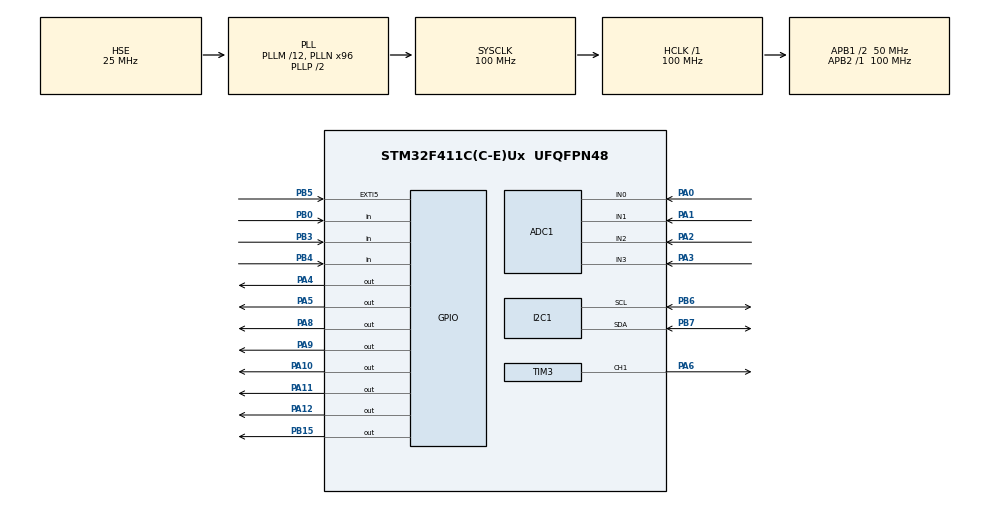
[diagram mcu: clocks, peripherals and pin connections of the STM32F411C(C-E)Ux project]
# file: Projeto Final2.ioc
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ADC1.Channel-0\#ChannelRegularConversion=ADC_CHANNEL_0
ADC1.Channel-1\#ChannelRegularConversion=ADC_CHANNEL_1
ADC1.Channel-2\#ChannelRegularConversion=ADC_CHANNEL_2
ADC1.Channel-3\#ChannelRegularConversion=ADC_CHANNEL_3
ADC1.ContinuousConvMode=ENABLE
ADC1.DMAContinuousRequests=ENABLE
ADC1.NbrOfConversion=4
ADC1.NbrOfConversionFlag=1
ADC1.Rank-0\#ChannelRegularConversion=1
ADC1.Rank-1\#ChannelRegularConversion=2
ADC1.Rank-2\#ChannelRegularConversion=3
ADC1.Rank-3\#ChannelRegularConversion=4
ADC1.SamplingTime-0\#ChannelRegularConversion=ADC_SAMPLETIME_144CYCLES
ADC1.SamplingTime-1\#ChannelRegularConversion=ADC_SAMPLETIME_144CYCLES
ADC1.SamplingTime-2\#ChannelRegularConversion=ADC_SAMPLETIME_144CYCLES
ADC1.SamplingTime-3\#ChannelRegularConversion=ADC_SAMPLETIME_144CYCLES
ADC1.ScanConvMode=ENABLE
ADC1.master=1
Dma.ADC1.0.Direction=DMA_PERIPH_TO_MEMORY
Dma.ADC1.0.FIFOMode=DMA_FIFOMODE_DISABLE
Dma.ADC1.0.Instance=DMA2_Stream0
Dma.ADC1.0.MemDataAlignment=DMA_MDATAALIGN_HALFWORD
Dma.ADC1.0.MemInc=DMA_MINC_ENABLE
Dma.ADC1.0.Mode=DMA_CIRCULAR
Dma.ADC1.0.PeriphDataAlignment=DMA_PDATAALIGN_HALFWORD
Dma.ADC1.0.PeriphInc=DMA_PINC_DISABLE
Dma.ADC1.0.Priority=DMA_PRIORITY_LOW
Dma.Request0=ADC1
Mcu.Family=STM32F4
Mcu.Name=STM32F411C(C-E)Ux
Mcu.Package=UFQFPN48
NVIC.DMA2_Stream0_IRQn=true\:0\:0\:false\:false\:true\:false\:true\:true
NVIC.EXTI9_5_IRQn=true\:1\:0\:true\:false\:true\:true\:true\:true
NVIC.PriorityGroup=NVIC_PRIORITYGROUP_4
NVIC.TIM2_IRQn=true\:0\:0\:false\:false\:true\:true\:true\:true
PA0-WKUP.Signal=ADCx_IN0
PA1.Signal=ADCx_IN1
PA10.Signal=GPIO_Output
PA11.Signal=GPIO_Output
PA12.Signal=GPIO_Output
PA2.Signal=ADCx_IN2
PA3.Signal=ADCx_IN3
PA4.Signal=GPIO_Output
PA5.Signal=GPIO_Output
PA6.Signal=S_TIM3_CH1
PA8.Signal=GPIO_Output
PA9.Signal=GPIO_Output
PB0.GPIO_PuPd=GPIO_PULLUP
PB0.Signal=GPIO_Input
PB15.Signal=GPIO_Output
PB3.GPIO_PuPd=GPIO_PULLUP
PB3.Signal=GPIO_Input
PB4.GPIO_PuPd=GPIO_PULLUP
PB4.Signal=GPIO_Input
PB5.GPIO_ModeDefaultEXTI=GPIO_MODE_IT_RISING_FALLING
PB5.GPIO_PuPd=GPIO_PULLUP
PB5.Signal=GPXTI5
PB6.Mode=I2C
PB6.Signal=I2C1_SCL
PB7.Mode=I2C
PB7.Signal=I2C1_SDA
PH0\ -\ OSC_IN.Mode=HSE-External-Oscillator
PH0\ -\ OSC_IN.Signal=RCC_OSC_IN
PH1\ -\ OSC_OUT.Mode=HSE-External-Oscillator
PH1\ -\ OSC_OUT.Signal=RCC_OSC_OUT
ProjectManager.HeapSize=0x200
ProjectManager.StackSize=0x400
ProjectManager.TargetToolchain=STM32CubeIDE
RCC.48MHZClocksFreq_Value=50000000
RCC.AHBFreq_Value=100000000
RCC.APB1CLKDivider=RCC_HCLK_DIV2
RCC.APB1Freq_Value=50000000
RCC.APB1TimFreq_Value=100000000
RCC.APB2Freq_Value=100000000
RCC.APB2TimFreq_Value=100000000
RCC.CortexFreq_Value=100000000
RCC.HCLKFreq_Value=100000000
RCC.HSE_VALUE=25000000
RCC.HSI_VALUE=16000000
RCC.LSE_VALUE=32768
RCC.PLLM=12
RCC.PLLN=96
RCC.PLLSourceVirtual=RCC_PLLSOURCE_HSE
RCC.SYSCLKFreq_VALUE=100000000
RCC.SYSCLKSource=RCC_SYSCLKSOURCE_PLLCLK
RCC.VCOOutputFreq_Value=200000000
SH.ADCx_IN0.0=ADC1_IN0,IN0
SH.ADCx_IN1.0=ADC1_IN1,IN1
SH.ADCx_IN2.0=ADC1_IN2,IN2
SH.ADCx_IN3.0=ADC1_IN3,IN3
SH.S_TIM3_CH1.0=TIM3_CH1,PWM Generation1 CH1
TIM2.Period=9999
TIM2.Prescaler=8399
TIM3.Channel-PWM\ Generation1\ CH1=TIM_CHANNEL_1
TIM3.Period=19999
TIM3.Prescaler=99
TIM3.Pulse-PWM\ Generation1\ CH1=1500
VP_TIM2_VS_ClockSourceINT.Mode=Internal
VP_TIM3_VS_ClockSourceINT.Mode=Internal
board=custom

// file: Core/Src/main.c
/* USER CODE BEGIN Header */
/**
  ******************************************************************************
  * @file           : main.c
  * @brief          : Controle de estufa
  ******************************************************************************
  */
/* USER CODE END Header */
#include "main.h"
#include "adc.h"
#include "dma.h"
#include "i2c.h"
#include "tim.h"
#include "gpio.h"

/* USER CODE BEGIN Includes */
#include <stdbool.h>
#include <stdint.h>
#include <stdio.h>
#include <string.h>
#include <math.h>
/* USER CODE END Includes */

/* USER CODE BEGIN PD */
#define DEBOUNCE_TIME       200U
#define ADC_MAX_VALUE       4095.0f
#define VREF                3.3f
#define WINDOW_SIZE         10
#define NUM_ADC_CHANNELS    4    // PA0, PA1, PA2, PA3

// LCD I2C
#define LCD_ADDR   (0x27u << 1)
#define LCD_COLS   16
#define LCD_ROWS   2

#define RS_BIT     0x01
#define EN_BIT     0x04
#define BL_ON      0x08
/* USER CODE END PD */

/* USER CODE BEGIN PV */
Estado_Controlador g_estado_atual = MONITORAMENTO_PRINCIPAL;
Modo_Operacao     g_modo_operacao = MODO_AUTOMATICO;
Controlador_Dados g_dados_controlador = {0};

Estado_Controlador estadoAtual = MENU_MODO; // passa a iniciar no menu (pedido)

// Menu / setpoints
Config_Setpoints_Index config_index_selecionado = SP_TEMP_MAX;

// Botão emergência
volatile bool flag_emergencia = false;

// Debounce dos botões
uint32_t ultimo_press_verde_ms   = 0;
uint32_t ultimo_press_amarelo_ms = 0;
uint32_t ultimo_press_roxo_ms    = 0;

// ADC e filtragem
volatile uint16_t adc_buffer[NUM_ADC_CHANNELS];

float temp_hist[WINDOW_SIZE] = {0};
float umid_hist[WINDOW_SIZE] = {0};
float o2_hist[WINDOW_SIZE]   = {0};
float luz_hist[WINDOW_SIZE]  = {0};
int   hist_idx = 0;

int temp_i = 0, umid_i = 0, o2_i = 0, luz_i = 0;

// ---------- SETPOINTS DE FÁBRICA ----------
static const float sp_temp_max_factory = 25.0f;
static const float sp_temp_min_factory = 18.0f;
static const float sp_umid_max_factory = 85.0f;
static const float sp_umid_min_factory = 60.0f;
static const float sp_o2_max_factory   = 21.0f;
static const float sp_o2_min_factory   = 19.0f;
static const float sp_luz_max_factory  = 45.0f;
static const float sp_luz_min_factory  = 20.0f;

// ---------- SETPOINTS ATUAIS (Para alterar no modo manual) ----------
float sp_temp_max   = 25.0f;
float sp_temp_min   = 18.0f;
float sp_umid_max   = 85.0f;
float sp_umid_min   = 60.0f;
float sp_o2_max     = 21.0f;
float sp_o2_min     = 19.0f;
float sp_luz_max    = 45.0f;
float sp_luz_min    = 20.0f;

// ---------- CONTROLE DO BUZZER POR TEMPORIZADOR (TIM2) ----------
bool     buzzer_temp_alerta   = false;   // se true, TIM2 controla o buzzer
uint32_t buzzer_periodo_ms    = 300;     // 300 ms abaixo do mínimo, 150 ms acima do máximo
uint32_t buzzer_elapsed_ms    = 0;       // acumula tempo desde última troca
bool     buzzer_toggle_state  = false;   // estado atual (ON/OFF) do beep

// ---------- NOVA LÓGICA DE MENU ----------
int menu_index = 0;
bool in_submenu = false;
enum {
    SUB_NONE = 0,
    SUB_CONFIRM_AUTO,
    SUB_AJUSTE_TEMP,
    SUB_AJUSTE_UMI,
    SUB_AJUSTE_O2,
    SUB_AJUSTE_LUZ,
    SUB_MONITORAMENTO_SELECTED
} submenu_type = SUB_NONE;
// Ajuste step (0=max, 1=min)
int ajuste_step = 0;
/* USER CODE END PV */

void SystemClock_Config(void);
/* USER CODE BEGIN PFP */
// LCD
void LCD_Write4bits(uint8_t data);
void LCD_SendCommand(uint8_t cmd);
void LCD_SendData(uint8_t data);
void LCD_SendString(char *str);
void LCD_SetCursor(uint8_t row, uint8_t col);
void LCD_Clear(void);
void LCD_Init(void);

// App
void Display_Update(void);
void Transicao_FSM(void);
void Maquina_Monitoramento(void);
void Maquina_ModoOperacao(void);
void Maquina_ConfigSetpoints(void);
void Maquina_AlertaCritico(void);

// Util
void Carregar_Setpoints(void);
void Salvar_Setpoints(void);
void Restaurar_Setpoints_Fabrica(void);
void Ligar_Aquecimento(void);
void Desligar_Aquecimento(void);
void Ligar_Resfriamento(void);
void Desligar_Resfriamento(void);

// SERVO
void Servo_SetPWM(uint16_t pulse_us);
void Servo_Para(void);

// BOTÕES
bool BotaoVerde_Pressionado(void);
bool BotaoAmarelo_Pressionado(void);
bool BotaoRoxo_Pressionado(void);

// ADC / conversões
void  Processar_ADC_e_Filtrar(void);
float Converter_ADC_para_Volts(uint16_t raw);

// BUZZER
void Buzzer_Liga(void);
void Buzzer_Desliga(void);
void Buzzer_TimerHandler(void);
/* USER CODE END PFP */

/* USER CODE BEGIN 0 */
/* ===================== LCD I2C ===================== */

void LCD_Write4bits(uint8_t data)
{
    uint8_t buf[1];
    buf[0] = data | BL_ON | EN_BIT;
    HAL_I2C_Master_Transmit(&hi2c1, LCD_ADDR, buf, 1, 100);
    HAL_Delay(1);
    buf[0] = data | BL_ON;
    HAL_I2C_Master_Transmit(&hi2c1, LCD_ADDR, buf, 1, 100);
}

void LCD_SendCommand(uint8_t cmd)
{
    uint8_t hi = cmd & 0xF0;
    uint8_t lo = (uint8_t)((cmd << 4) & 0xF0);

    LCD_Write4bits(hi);
    LCD_Write4bits(lo);
}

void LCD_SendData(uint8_t data)
{
    uint8_t hi = data & 0xF0;
    uint8_t lo = (uint8_t)((data << 4) & 0xF0);

    LCD_Write4bits(hi | RS_BIT);
    LCD_Write4bits(lo | RS_BIT);
}

void LCD_SendString(char *str)
{
    while (*str)
    {
        LCD_SendData((uint8_t)*str++);
    }
}

void LCD_SetCursor(uint8_t row, uint8_t col)
{
    uint8_t addr;
    switch (row)
    {
        default:
        case 0: addr = 0x80 + col; break;
        case 1: addr = 0xC0 + col; break;
    }
    LCD_SendCommand(addr);
}

void LCD_Clear(void)
{
    LCD_SendCommand(0x01);
    HAL_Delay(2);
}

void LCD_Init(void)
{
    HAL_Delay(20);
    LCD_Write4bits(0x30);
    HAL_Delay(10);
    LCD_Write4bits(0x30);
    LCD_Write4bits(0x20);
    LCD_SendCommand(0x28);
    LCD_SendCommand(0x0C);
    LCD_SendCommand(0x01);
    HAL_Delay(2);
}

/* ===================== Atuadores ===================== */

void Carregar_Setpoints(void)
{
    g_dados_controlador.sp_temp_max     = sp_temp_max;
    g_dados_controlador.sp_temp_min     = sp_temp_min;
    g_dados_controlador.sp_umidade_max  = sp_umid_max;
    g_dados_controlador.sp_umidade_min  = sp_umid_min;
    g_dados_controlador.sp_oxigenio_max = sp_o2_max;
    g_dados_controlador.sp_oxigenio_min = sp_o2_min;
}

void Salvar_Setpoints(void)
{
    Carregar_Setpoints();
}

void Restaurar_Setpoints_Fabrica(void)
{
    sp_temp_max = sp_temp_max_factory;
    sp_temp_min = sp_temp_min_factory;
    sp_umid_max = sp_umid_max_factory;
    sp_umid_min = sp_umid_min_factory;
    sp_o2_max   = sp_o2_max_factory;
    sp_o2_min   = sp_o2_min_factory;
    sp_luz_max  = sp_luz_max_factory;
    sp_luz_min  = sp_luz_min_factory;

    Carregar_Setpoints();
}

void Ligar_Aquecimento(void)
{
    HAL_GPIO_WritePin(AQUECIMENTO_GPIO_Port, AQUECIMENTO_Pin, GPIO_PIN_SET);
}

void Desligar_Aquecimento(void)
{
    HAL_GPIO_WritePin(AQUECIMENTO_GPIO_Port, AQUECIMENTO_Pin, GPIO_PIN_RESET);
}

void Ligar_Resfriamento(void)
{
    HAL_GPIO_WritePin(RESFRIAMENTO_GPIO_Port, RESFRIAMENTO_Pin, GPIO_PIN_SET);
}

void Desligar_Resfriamento(void)
{
    HAL_GPIO_WritePin(RESFRIAMENTO_GPIO_Port, RESFRIAMENTO_Pin, GPIO_PIN_RESET);
}

/* ===================== SERVO ===================== */

void Servo_SetPWM(uint16_t pulse_us)
{
    if (pulse_us < 1000) pulse_us = 1000;
    if (pulse_us > 2000) pulse_us = 2000;

    uint32_t ticks = pulse_us;

    __HAL_TIM_SET_COMPARE(&htim3, TIM_CHANNEL_1, ticks);
}

void Servo_Para(void)
{
    Servo_SetPWM(1500);
}

/* ===================== BOTÕES ===================== */

bool BotaoVerde_Pressionado(void)
{
    GPIO_PinState p = HAL_GPIO_ReadPin(BOTAO_VERDE_GPIO_Port, BOTAO_VERDE_Pin);
    static GPIO_PinState last = GPIO_PIN_SET;

    if (p == GPIO_PIN_RESET && last == GPIO_PIN_SET)
    {
        if (HAL_GetTick() - ultimo_press_verde_ms > DEBOUNCE_TIME)
        {
            ultimo_press_verde_ms = HAL_GetTick();
            last = p;
            return true;
        }
    }
    if (p == GPIO_PIN_SET)
        last = p;

    return false;
}

bool BotaoAmarelo_Pressionado(void)
{
    GPIO_PinState p = HAL_GPIO_ReadPin(BOTAO_AMARELO_GPIO_Port, BOTAO_AMARELO_Pin);
    static GPIO_PinState last = GPIO_PIN_SET;

    if (p == GPIO_PIN_RESET && last == GPIO_PIN_SET)
    {
        if (HAL_GetTick() - ultimo_press_amarelo_ms > DEBOUNCE_TIME)
        {
            ultimo_press_amarelo_ms = HAL_GetTick();
            last = p;
            return true;
        }
    }
    if (p == GPIO_PIN_SET)
        last = p;

    return false;
}

bool BotaoRoxo_Pressionado(void)
{
    GPIO_PinState p = HAL_GPIO_ReadPin(BOTAO_ROXO_GPIO_Port, BOTAO_ROXO_Pin);
    static GPIO_PinState last = GPIO_PIN_SET;

    if (p == GPIO_PIN_RESET && last == GPIO_PIN_SET)
    {
        if (HAL_GetTick() - ultimo_press_roxo_ms > DEBOUNCE_TIME)
        {
            ultimo_press_roxo_ms = HAL_GetTick();
            last = p;
            return true;
        }
    }
    if (p == GPIO_PIN_SET)
        last = p;

    return false;
}

/* ===================== BUZZER ===================== */

void Buzzer_Liga(void)
{
    HAL_GPIO_WritePin(BUZZER_GPIO_Port, BUZZER_Pin, GPIO_PIN_SET);
}

void Buzzer_Desliga(void)
{
    HAL_GPIO_WritePin(BUZZER_GPIO_Port, BUZZER_Pin, GPIO_PIN_RESET);
}

void Buzzer_TimerHandler(void)
{
    if (!buzzer_temp_alerta || flag_emergencia || estadoAtual == ALERTA_CRITICO)
        return;

       buzzer_elapsed_ms += 100U;

    if (buzzer_elapsed_ms >= buzzer_periodo_ms)
    {
        buzzer_elapsed_ms = 0;
        buzzer_toggle_state = !buzzer_toggle_state;

        if (buzzer_toggle_state)
            Buzzer_Liga();
        else
            Buzzer_Desliga();
    }
}

/* ===================== ADC / FILTRO ===================== */

float Converter_ADC_para_Volts(uint16_t raw)
{
    return (raw / ADC_MAX_VALUE) * VREF;
}

static float limpa_ruido_adc(uint16_t raw)
{
    if (raw < 50)   raw = 50;
    if (raw > 4050) raw = 4050;
    return raw;
}

void Processar_ADC_e_Filtrar(void)
{
    const uint16_t ADC_MIN = 50;
    const uint16_t ADC_MAX = 4050;
    const float span = (float)(ADC_MAX - ADC_MIN);

    float temp_raw = (adc_buffer[0] < ADC_MIN) ? ADC_MIN :
                  (adc_buffer[0] > ADC_MAX ? ADC_MAX : adc_buffer[0]);

    float umi_raw = (adc_buffer[1] < ADC_MIN) ? ADC_MIN :
                  (adc_buffer[1] > ADC_MAX ? ADC_MAX : adc_buffer[1]);

    float oxi_raw = (adc_buffer[2] < ADC_MIN) ? ADC_MIN :
                  (adc_buffer[2] > ADC_MAX ? ADC_MAX : adc_buffer[2]);

    float luz_raw = (adc_buffer[3] < ADC_MIN) ? ADC_MIN :
                  (adc_buffer[3] > ADC_MAX ? ADC_MAX : adc_buffer[3]);

    float temp_n = (temp_raw - ADC_MIN) / span;
    float umi_n  = (umi_raw  - ADC_MIN) / span;
    float oxi_n  = (oxi_raw  - ADC_MIN) / span;
    float luz_n  = (luz_raw  - ADC_MIN) / span;

    float temp = 10.0f + temp_n * (35.0f - 10.0f);   // 10 a 35 °C
    float umi  = 40.0f + umi_n  * (99.0f - 40.0f);   // 40 a 99 %
    float oxi  = 15.0f + oxi_n  * (25.0f - 15.0f);   // 15 a 25 %
    float lux  = luz_n;

    temp_hist[hist_idx] = temp;
    umid_hist[hist_idx] = umi;
    o2_hist[hist_idx]   = oxi;
    luz_hist[hist_idx]  = lux;

    hist_idx = (hist_idx + 1) % WINDOW_SIZE;

    float stemp = 0, sumi = 0, soxi = 0, sluz = 0;
    for (int i = 0; i < WINDOW_SIZE; i++) {
        stemp += temp_hist[i];
        sumi  += umid_hist[i];
        soxi  += o2_hist[i];
        sluz  += luz_hist[i];
    }

    float temp_media = stemp / WINDOW_SIZE;   // 10–35
    float umid_media = sumi  / WINDOW_SIZE;   // 40–99
    float o2_media   = soxi  / WINDOW_SIZE;   // 15–25
    float luz_media  = sluz  / WINDOW_SIZE;   // 0–1

    temp_i = (int)(temp_media + 0.5f);
    umid_i = (int)(umid_media + 0.5f);
    o2_i   = (int)(o2_media   + 0.5f);

    int luz_calc = (int)(luz_media * 99.0f + 0.5f);
    if (luz_calc < 0)   luz_calc = 0;
    if (luz_calc > 99)  luz_calc = 99;
    luz_i = luz_calc;

    g_dados_controlador.temperatura = temp_media;
    g_dados_controlador.umidade     = umid_media;
    g_dados_controlador.oxigenio    = o2_media;
}

void HAL_ADC_ConvCpltCallback(ADC_HandleTypeDef *hadc)
{
    if (hadc->Instance == ADC1)
    {
        Processar_ADC_e_Filtrar();
        HAL_ADC_Start_DMA(&hadc1, (uint32_t*)adc_buffer, NUM_ADC_CHANNELS);
    }
}

/* ===================== DISPLAY ===================== */

void Display_Update(void)
{
    char buf[17];

       if (estadoAtual == MENU_MODO && !in_submenu)
    {
                LCD_SetCursor(0,0);
        switch (menu_index)
        {
            case 0: LCD_SendString("1:Monitoramento "); break;
            case 1: LCD_SendString("2:Modo Automatico"); break;
            case 2: LCD_SendString("3:Ajuste Temp   "); break;
            case 3: LCD_SendString("4:Ajuste Umid   "); break;
            case 4: LCD_SendString("5:Ajuste O2     "); break;
            case 5: LCD_SendString("6:Ajuste Luz    "); break;
            default: LCD_SendString("                "); break;
        }
        LCD_SetCursor(1,0);
        LCD_SendString("ROXO-> Next  VER->OK");
        return;
    }

        if (estadoAtual == MENU_MODO && in_submenu)
    {
        switch (submenu_type)
        {
            case SUB_MONITORAMENTO_SELECTED:
                LCD_SetCursor(0,0);
                snprintf(buf,sizeof(buf),"Temp:%02dC Umi:%02d%%",temp_i,umid_i);
                LCD_SendString(buf);
                LCD_SetCursor(1,0);
                snprintf(buf,sizeof(buf),"Oxig:%02d%% Luz:%02d%%",o2_i,luz_i);
                LCD_SendString(buf);
                LCD_SetCursor(1,14);
                return;

            case SUB_CONFIRM_AUTO:
                LCD_SetCursor(0,0);
                LCD_SendString("Confirma AUTO ?  ");
                LCD_SetCursor(1,0);
                LCD_SendString("VER->Sim  ROXO->Nao");
                return;

            case SUB_AJUSTE_TEMP:
                LCD_SetCursor(0,0);
                if (ajuste_step == 0)
                    snprintf(buf,sizeof(buf),"Tmax:%02dC        ", (int)sp_temp_max);
                else
                    snprintf(buf,sizeof(buf),"Tmin:%02dC        ", (int)sp_temp_min);
                LCD_SendString(buf);
                LCD_SetCursor(1,0);
                LCD_SendString("VER+ AMAR- ROXO->>");
                return;

            case SUB_AJUSTE_UMI:
                LCD_SetCursor(0,0);
                if (ajuste_step == 0)
                    snprintf(buf,sizeof(buf),"Umax:%02d%%       ", (int)sp_umid_max);
                else
                    snprintf(buf,sizeof(buf),"Umin:%02d%%       ", (int)sp_umid_min);
                LCD_SendString(buf);
                LCD_SetCursor(1,0);
                LCD_SendString("VER+ AMAR- ROXO->>");
                return;

            case SUB_AJUSTE_O2:
                LCD_SetCursor(0,0);
                if (ajuste_step == 0)
                    snprintf(buf,sizeof(buf),"O2Max:%02d%%      ", (int)sp_o2_max);
                else
                    snprintf(buf,sizeof(buf),"O2Min:%02d%%      ", (int)sp_o2_min);
                LCD_SendString(buf);
                LCD_SetCursor(1,0);
                LCD_SendString("VER+ AMAR- ROXO->>");
                return;

            case SUB_AJUSTE_LUZ:
                LCD_SetCursor(0,0);
                if (ajuste_step == 0)
                    snprintf(buf,sizeof(buf),"LuzMax:%02d%%     ", (int)sp_luz_max);
                else
                    snprintf(buf,sizeof(buf),"LuzMin:%02d%%     ", (int)sp_luz_min);
                LCD_SendString(buf);
                LCD_SetCursor(1,0);
                LCD_SendString("VER+ AMAR- ROXO->>");
                return;

            default:
                LCD_Clear();
                return;
        }
    }

    switch (estadoAtual)
    {
    case MONITORAMENTO_PRINCIPAL:
        LCD_SetCursor(0,0);
        snprintf(buf,sizeof(buf),"Temp:%02dC Umi:%02d%%",temp_i,umid_i);
        LCD_SendString(buf);
        LCD_SetCursor(1,0);
        snprintf(buf,sizeof(buf),"Oxig:%02d%% Luz:%02d%%",o2_i,luz_i);
        LCD_SendString(buf);
        break;

    case ALERTA_CRITICO:
        break;

    default:
        break;
    }
}

/* ===================== FSM ===================== */

void Maquina_Monitoramento(void)
{
    // ======== CONTROLE TEMPERATURA ========
    if (temp_i > (int)sp_temp_max)
    {
        Desligar_Aquecimento();
        Ligar_Resfriamento();
    }
    else if (temp_i < (int)sp_temp_min)
    {
        Ligar_Aquecimento();
        Desligar_Resfriamento();
    }
    else
    {
        Desligar_Aquecimento();
        Desligar_Resfriamento();
    }

    // Controle do buzzer baseado na temperatura (TIM2)
    if (g_modo_operacao == MODO_AUTOMATICO && !flag_emergencia)
    {
        if (temp_i < (int)sp_temp_min)
        {
            buzzer_temp_alerta = true;
            buzzer_periodo_ms  = 300;
        }
        else if (temp_i > (int)sp_temp_max)
        {
            buzzer_temp_alerta = true;
            buzzer_periodo_ms  = 150;
        }
        else
        {
            buzzer_temp_alerta = false;
            buzzer_elapsed_ms  = 0;
            buzzer_toggle_state = false;
            Buzzer_Desliga();
        }
    }
    else
    {
        buzzer_temp_alerta = false;
        buzzer_elapsed_ms  = 0;
        buzzer_toggle_state = false;
        Buzzer_Desliga();
    }

    // ========= CONTROLE UMIDADE → LED RGB =========
    if (umid_i < (int)sp_umid_min)
    {
        HAL_GPIO_WritePin(LED_RGB_VERMELHO_GPIO_Port, LED_RGB_VERMELHO_Pin, GPIO_PIN_SET);
        HAL_GPIO_WritePin(LED_RGB_VERDE_GPIO_Port,    LED_RGB_VERDE_Pin,    GPIO_PIN_RESET);
        HAL_GPIO_WritePin(LED_RGB_AZUL_GPIO_Port,     LED_RGB_AZUL_Pin,     GPIO_PIN_RESET);
    }
    else if (umid_i <= (int)sp_umid_max)
    {
        HAL_GPIO_WritePin(LED_RGB_VERMELHO_GPIO_Port, LED_RGB_VERMELHO_Pin, GPIO_PIN_RESET);
        HAL_GPIO_WritePin(LED_RGB_VERDE_GPIO_Port,    LED_RGB_VERDE_Pin,    GPIO_PIN_SET);
        HAL_GPIO_WritePin(LED_RGB_AZUL_GPIO_Port,     LED_RGB_AZUL_Pin,     GPIO_PIN_RESET);
    }
    else
    {
        HAL_GPIO_WritePin(LED_RGB_VERMELHO_GPIO_Port, LED_RGB_VERMELHO_Pin, GPIO_PIN_RESET);
        HAL_GPIO_WritePin(LED_RGB_VERDE_GPIO_Port,    LED_RGB_VERDE_Pin,    GPIO_PIN_RESET);
        HAL_GPIO_WritePin(LED_RGB_AZUL_GPIO_Port,     LED_RGB_AZUL_Pin,     GPIO_PIN_SET);
    }

    // ======== CONTROLE OXIGÊNIO → SERVO =========
    if (o2_i < (int)sp_o2_min)
    {
        float falta = sp_o2_min - o2_i;
        float ganho = falta / 15.0f;
        if (ganho > 1.0f) ganho = 1.0f;

        uint16_t pwm = 1500 + (uint16_t)(ganho * 500);
        Servo_SetPWM(pwm);
    }
    else if (o2_i > (int)sp_o2_max)
    {
        float excesso = o2_i - sp_o2_max;
        float ganho   = excesso / 10.0f;
        if (ganho > 1.0f) ganho = 1.0f;

        uint16_t pwm = 1500 - (uint16_t)(ganho * 500);
        Servo_SetPWM(pwm);
    }
    else
    {
        Servo_Para();
    }

    // ======== CONTROLE LUMINOSIDADE → LEDs PA4/PA5 =========
    if (luz_i < (int)sp_luz_min)
    {
        HAL_GPIO_WritePin(POUCA_LUZ_GPIO_Port, POUCA_LUZ_Pin, GPIO_PIN_SET);
        HAL_GPIO_WritePin(MUITA_LUZ_GPIO_Port, MUITA_LUZ_Pin, GPIO_PIN_RESET);
    }
    else if (luz_i > (int)sp_luz_max)
    {
        HAL_GPIO_WritePin(POUCA_LUZ_GPIO_Port, POUCA_LUZ_Pin, GPIO_PIN_RESET);
        HAL_GPIO_WritePin(MUITA_LUZ_GPIO_Port, MUITA_LUZ_Pin, GPIO_PIN_SET);
    }
    else
    {
        HAL_GPIO_WritePin(POUCA_LUZ_GPIO_Port, POUCA_LUZ_Pin, GPIO_PIN_RESET);
        HAL_GPIO_WritePin(MUITA_LUZ_GPIO_Port, MUITA_LUZ_Pin, GPIO_PIN_RESET);
    }

       if (BotaoRoxo_Pressionado())
    {
        estadoAtual = MENU_MODO;
        in_submenu = false;
        submenu_type = SUB_NONE;
        menu_index = 0;
        LCD_Clear();
    }
}

void Maquina_ModoOperacao(void)
{

    if (!in_submenu)
    {
        if (BotaoRoxo_Pressionado())
        {
            menu_index = (menu_index + 1) % 6; // 6 opções
            LCD_Clear();
            return;
        }
        // VERDE: entrar/selecionar a opção atual
        if (BotaoVerde_Pressionado())
        {
            in_submenu = true;
            ajuste_step = 0; // reset passo de ajuste
            switch (menu_index)
            {
                case 0: // Monitoramento
                    submenu_type = SUB_MONITORAMENTO_SELECTED;
                    // permanece em estado MENU_MODO mas mostra a tela de monitoramento até ROXO voltar
                    LCD_Clear();
                    break;
                case 1: // Modo Automático -> confirmar
                    submenu_type = SUB_CONFIRM_AUTO;
                    LCD_Clear();
                    break;
                case 2: // Ajuste Temperatura
                    submenu_type = SUB_AJUSTE_TEMP;
                    ajuste_step = 0;
                    LCD_Clear();
                    break;
                case 3: // Ajuste Umidade
                    submenu_type = SUB_AJUSTE_UMI;
                    ajuste_step = 0;
                    LCD_Clear();
                    break;
                case 4: // Ajuste Oxigênio
                    submenu_type = SUB_AJUSTE_O2;
                    ajuste_step = 0;
                    LCD_Clear();
                    break;
                case 5: // Ajuste Luminosidade
                    submenu_type = SUB_AJUSTE_LUZ;
                    ajuste_step = 0;
                    LCD_Clear();
                    break;
                default:
                    submenu_type = SUB_NONE;
                    in_submenu = false;
                    break;
            }
            return;
        }
    }
    else
    {
        // Estamos dentro de um submenu; tratar ações específicas
        switch (submenu_type)
        {
            case SUB_MONITORAMENTO_SELECTED:
                // Dentro desta tela: ROXO volta pro menu (sai do submenu)
                if (BotaoRoxo_Pressionado())
                {
                    in_submenu = false;
                    submenu_type = SUB_NONE;
                    LCD_Clear();
                }
                break;

            case SUB_CONFIRM_AUTO:
                // VERDE = confirmar, ROXO = cancelar (voltar ao menu)
                if (BotaoVerde_Pressionado())
                {
                    // confirma modo automático e restaura presets
                    g_modo_operacao = MODO_AUTOMATICO;
                    Restaurar_Setpoints_Fabrica();
                    // volta para tela de monitoramento principal (requisito interpretado)
                    estadoAtual = MONITORAMENTO_PRINCIPAL;
                    in_submenu = false;
                    submenu_type = SUB_NONE;
                    LCD_Clear();
                }
                else if (BotaoRoxo_Pressionado())
                {
                    // cancelar: volta ao menu principal, próximo item (ou manter ítem)
                    in_submenu = false;
                    submenu_type = SUB_NONE;
                    LCD_Clear();
                }
                break;

            case SUB_AJUSTE_TEMP:
            case SUB_AJUSTE_UMI:
            case SUB_AJUSTE_O2:
            case SUB_AJUSTE_LUZ:
            {
                // VERDE aumenta, AMARELO diminui, ROXO avança passo/fecha
                if (BotaoVerde_Pressionado())
                {
                    if (submenu_type == SUB_AJUSTE_TEMP)
                    {
                        if (ajuste_step == 0) { sp_temp_max += 1.0f; if (sp_temp_max > 35.0f) sp_temp_max = 35.0f; if (sp_temp_max < sp_temp_min) sp_temp_max = sp_temp_min; }
                        else { sp_temp_min += 1.0f; if (sp_temp_min > sp_temp_max) sp_temp_min = sp_temp_max; if (sp_temp_min > 35.0f) sp_temp_min = 35.0f; }
                    }
                    else if (submenu_type == SUB_AJUSTE_UMI)
                    {
                        if (ajuste_step == 0) { sp_umid_max += 1.0f; if (sp_umid_max > 99.0f) sp_umid_max = 99.0f; if (sp_umid_max < sp_umid_min) sp_umid_max = sp_umid_min; }
                        else { sp_umid_min += 1.0f; if (sp_umid_min > sp_umid_max) sp_umid_min = sp_umid_max; if (sp_umid_min > 99.0f) sp_umid_min = 99.0f; }
                    }
                    else if (submenu_type == SUB_AJUSTE_O2)
                    {
                        if (ajuste_step == 0) { sp_o2_max += 1.0f; if (sp_o2_max > 25.0f) sp_o2_max = 25.0f; if (sp_o2_max < sp_o2_min) sp_o2_max = sp_o2_min; }
                        else { sp_o2_min += 1.0f; if (sp_o2_min > sp_o2_max) sp_o2_min = sp_o2_max; if (sp_o2_min > 25.0f) sp_o2_min = 25.0f; }
                    }
                    else if (submenu_type == SUB_AJUSTE_LUZ)
                    {
                        if (ajuste_step == 0) { sp_luz_max += 1.0f; if (sp_luz_max > 99.0f) sp_luz_max = 99.0f; if (sp_luz_max < sp_luz_min) sp_luz_max = sp_luz_min; }
                        else { sp_luz_min += 1.0f; if (sp_luz_min > sp_luz_max) sp_luz_min = sp_luz_max; if (sp_luz_min > 99.0f) sp_luz_min = 99.0f; }
                    }
                    LCD_Clear();
                }
                if (BotaoAmarelo_Pressionado())
                {
                    if (submenu_type == SUB_AJUSTE_TEMP)
                    {
                        if (ajuste_step == 0) { sp_temp_max -= 1.0f; if (sp_temp_max < sp_temp_min) sp_temp_max = sp_temp_min; if (sp_temp_max < 10.0f) sp_temp_max = 10.0f; }
                        else { sp_temp_min -= 1.0f; if (sp_temp_min < 10.0f) sp_temp_min = 10.0f; if (sp_temp_min > sp_temp_max) sp_temp_min = sp_temp_max; }
                    }
                    else if (submenu_type == SUB_AJUSTE_UMI)
                    {
                        if (ajuste_step == 0) { sp_umid_max -= 1.0f; if (sp_umid_max < sp_umid_min) sp_umid_max = sp_umid_min; if (sp_umid_max < 40.0f) sp_umid_max = 40.0f; }
                        else { sp_umid_min -= 1.0f; if (sp_umid_min < 40.0f) sp_umid_min = 40.0f; if (sp_umid_min > sp_umid_max) sp_umid_min = sp_umid_max; }
                    }
                    else if (submenu_type == SUB_AJUSTE_O2)
                    {
                        if (ajuste_step == 0) { sp_o2_max -= 1.0f; if (sp_o2_max < sp_o2_min) sp_o2_max = sp_o2_min; if (sp_o2_max < 15.0f) sp_o2_max = 15.0f; }
                        else { sp_o2_min -= 1.0f; if (sp_o2_min < 15.0f) sp_o2_min = 15.0f; if (sp_o2_min > sp_o2_max) sp_o2_min = sp_o2_max; }
                    }
                    else if (submenu_type == SUB_AJUSTE_LUZ)
                    {
                        if (ajuste_step == 0) { sp_luz_max -= 1.0f; if (sp_luz_max < sp_luz_min) sp_luz_max = sp_luz_min; if (sp_luz_max < 0.0f) sp_luz_max = 0.0f; }
                        else { sp_luz_min -= 1.0f; if (sp_luz_min < 0.0f) sp_luz_min = 0.0f; if (sp_luz_min > sp_luz_max) sp_luz_min = sp_luz_max; }
                    }
                    LCD_Clear();
                }
                if (BotaoRoxo_Pressionado())
                {
                    if (ajuste_step == 0)
                    {
                        // vai para ajuste do mínimo
                        ajuste_step = 1;
                        LCD_Clear();
                    }
                    else
                    {
                        // terminou ajuste: salva (espelha) e volta ao menu principal posicao 0
                        Salvar_Setpoints();
                        in_submenu = false;
                        submenu_type = SUB_NONE;
                        ajuste_step = 0;
                        menu_index = 0; // voltar ao inicio do menu
                        LCD_Clear();
                    }
                }
            }
            break;

            default:
                // desconhecido: sair
                if (BotaoRoxo_Pressionado())
                {
                    in_submenu = false;
                    submenu_type = SUB_NONE;
                    LCD_Clear();
                }
                break;
        }
    }
}

void Maquina_AlertaCritico(void)
{
    static bool     inicializado = false;
    static uint32_t t0 = 0;

    if (!inicializado)
    {
        inicializado = true;
        t0 = HAL_GetTick();

        buzzer_temp_alerta  = false;
        buzzer_elapsed_ms   = 0;
        buzzer_toggle_state = false;

        Desligar_Aquecimento();
        Desligar_Resfriamento();
        Servo_Para();

        LCD_Clear();
        LCD_SetCursor(0,0); LCD_SendString("ERRO CRITICO   ");
        LCD_SetCursor(1,0); LCD_SendString("REINICIE SIST  ");

        Buzzer_Liga();
    }

    if (HAL_GetTick() - t0 >= 3000)
    {
        Buzzer_Desliga();
    }
}

/* FSM Dispatcher */
void Transicao_FSM(void)
{
    g_estado_atual = estadoAtual;

    if (flag_emergencia)
    {
        estadoAtual = ALERTA_CRITICO;
    }

    switch (estadoAtual)
    {
    case MONITORAMENTO_PRINCIPAL:
        Maquina_Monitoramento();
        break;
    case MENU_MODO:
        Maquina_ModoOperacao();
        break;
    case AJUSTE_MANUAL:
        Maquina_ConfigSetpoints();
        break;
    case ALERTA_CRITICO:
        Maquina_AlertaCritico();
        break;
    default:
        estadoAtual = MENU_MODO;
        break;
    }
}

/* ===================== EXTI ===================== */

void HAL_GPIO_EXTI_Callback(uint16_t GPIO_Pin)
{
    if (GPIO_Pin == BOTAO_VERMELHO_Pin)
    {
        // emergência direta (botão vermelho físico)
        flag_emergencia = true;
    }
}

/* ===================== TIM CALLBACK ===================== */

void HAL_TIM_PeriodElapsedCallback(TIM_HandleTypeDef *htim)
{
    if (htim->Instance == TIM2)
    {
        Buzzer_TimerHandler();
    }
}

/* USER CODE END 0 */

int main(void)
{
  HAL_Init();

  SystemClock_Config();

  MX_GPIO_Init();
  MX_DMA_Init();
  MX_ADC1_Init();
  MX_I2C1_Init();
  MX_TIM2_Init();
  MX_TIM3_Init();
  HAL_TIM_PWM_Start(&htim3, TIM_CHANNEL_1);
  HAL_TIM_Base_Start_IT(&htim2);

#if (__FPU_PRESENT == 1) && (__FPU_USED == 1)
  SCB->CPACR |= ((3UL << 20U) | (3UL << 22U));
#endif

  Restaurar_Setpoints_Fabrica();

  Desligar_Aquecimento();
  Desligar_Resfriamento();
  Servo_Para();
  Buzzer_Desliga();

  LCD_Init();
  LCD_SendString("Inicializando...");
  LCD_SetCursor(1, 0);
  LCD_SendString("Estufa STM32");
  HAL_Delay(1000);
  LCD_Clear();

  // ADC + DMA
  if (HAL_ADC_Start_DMA(&hadc1, (uint32_t *)adc_buffer, NUM_ADC_CHANNELS) != HAL_OK)
  {
      Error_Handler();
  }

  // Inicial: menu principal visível (conforme pedido)
  estadoAtual      = MENU_MODO;
  g_modo_operacao  = MODO_AUTOMATICO;
  flag_emergencia  = false;
  menu_index = 0;
  in_submenu = false;
  submenu_type = SUB_NONE;

  while (1)
  {
    Transicao_FSM();
    Display_Update();
    HAL_Delay(50);
  }
}

void SystemClock_Config(void)
{
  RCC_OscInitTypeDef RCC_OscInitStruct = {0};
  RCC_ClkInitTypeDef RCC_ClkInitStruct = {0};

  __HAL_RCC_PWR_CLK_ENABLE();
  __HAL_PWR_VOLTAGESCALING_CONFIG(PWR_REGULATOR_VOLTAGE_SCALE1);

  RCC_OscInitStruct.OscillatorType = RCC_OSCILLATORTYPE_HSE;
  RCC_OscInitStruct.HSEState = RCC_HSE_ON;
  RCC_OscInitStruct.PLL.PLLState = RCC_PLL_ON;
  RCC_OscInitStruct.PLL.PLLSource = RCC_PLLSOURCE_HSE;
  RCC_OscInitStruct.PLL.PLLM = 12;
  RCC_OscInitStruct.PLL.PLLN = 96;
  RCC_OscInitStruct.PLL.PLLP = RCC_PLLP_DIV2;
  RCC_OscInitStruct.PLL.PLLQ = 4;
  if (HAL_RCC_OscConfig(&RCC_OscInitStruct) != HAL_OK)
  {
    Error_Handler();
  }

  RCC_ClkInitStruct.ClockType = RCC_CLOCKTYPE_HCLK|RCC_CLOCKTYPE_SYSCLK
                              |RCC_CLOCKTYPE_PCLK1|RCC_CLOCKTYPE_PCLK2;
  RCC_ClkInitStruct.SYSCLKSource   = RCC_SYSCLKSOURCE_PLLCLK;
  RCC_ClkInitStruct.AHBCLKDivider  = RCC_SYSCLK_DIV1;
  RCC_ClkInitStruct.APB1CLKDivider = RCC_HCLK_DIV2;
  RCC_ClkInitStruct.APB2CLKDivider = RCC_HCLK_DIV1;

  if (HAL_RCC_ClockConfig(&RCC_ClkInitStruct, FLASH_LATENCY_3) != HAL_OK)
  {
    Error_Handler();
  }
}

void Error_Handler(void)
{
  __disable_irq();
  while (1)
  {
  }
}
